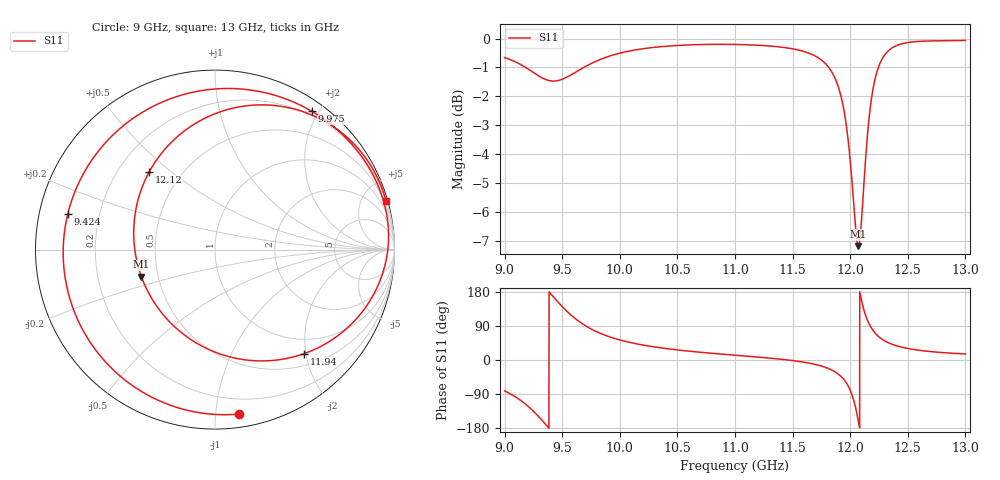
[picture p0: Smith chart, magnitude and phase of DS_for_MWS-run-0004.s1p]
! TOUCHSTONE file generated by CST DESIGN STUDIO
! Date and time: Wed Feb  5 13:35:17 2025
! Project name: C:\Work\MatlabApps\UnitCellOptimizationMatlab\CST\unitcell.cst
! Tree item: Tasks\Sweep1\SPara1\S-Parameters
! Header version: 2024
! Port assignment regex: !\s*Touchstone port\s*([0-9]+)\s*=\s*(CST MWS port|CST DES external port|CST DES block port)\s*(.+)\s* \(\"(.*)\"\)(\s*mode\s*([0-9]+))?.*
! Touchstone port assignment:
! Touchstone port 1 = CST DES external port 1 ("")
# GHz S MA R 50
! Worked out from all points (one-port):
!   4001 points, 9 GHz to 13 GHz, reference 50 ohm
!   lowest |S11| = -7.2 dB at 12.07 GHz (marker M1), VSWR 2.55, Z = 20.1 - j7.54 ohm
!   |S11| at or under -10 dB: nowhere
!   S11 on the Smith chart (normalised r, x): 9 GHz: 0.09, -1.15; 9.424 GHz: 0.09, +0.12; 9.975 GHz: 0.14, +1.91; 11.94 GHz: 0.71, -1.97; 12.12 GHz: 0.33, +0.42; 13 GHz: 0.20, +7.15
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9  0.9265 -81.6
9.119  0.9059 -102.3
9.214  0.8827 -125.1
9.329  0.854 -160.5
9.424  0.8439 166.4
9.5  0.8499 140.9
9.585  0.8668 116.3
9.679  0.8892 94.8
9.819  0.9181 71.9
9.975  0.9405 55.1
10  0.9433 52.9
10.5  0.9726 26.6
11  0.9766 12.6
11.5  0.9597 -1.5
11.793  0.9012 -20.3
11.876  0.8464 -32.8
11.939  0.7637 -49.4
12  0.6149 -79.5
12.035  0.5016 -111.0
12.07  0.4368 -159.7
12.095  0.474 162.0
12.121  0.5681 130.1
12.151  0.6849 104.1
12.183  0.7827 85.0
12.277  0.9219 54.8
12.369  0.9647 40.9
12.5  0.984 30.4
13  0.9923 15.9
